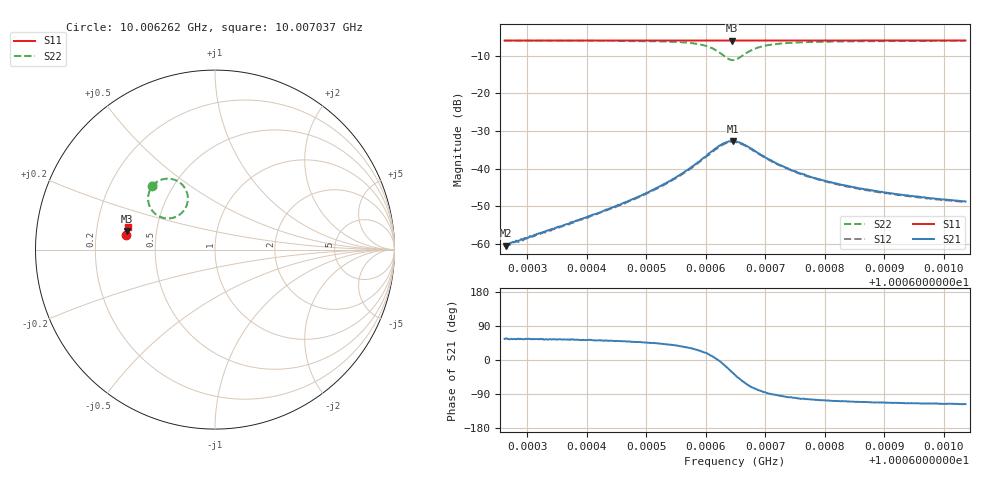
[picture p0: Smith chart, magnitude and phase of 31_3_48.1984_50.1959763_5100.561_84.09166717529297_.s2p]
#  HZ  S  RI  R  50.00
! Rohde & Schwarz Vector Network Analyzer
! Rohde-Schwarz,ZNB20-2Port,1311601062101988,3.16
! Created: UTC 3/20/2024, 11:37:22 AM
! freq[Hz]  re:S11  im:S11  re:S21  im:S21  re:S12  im:S12  re:S22  im:S22
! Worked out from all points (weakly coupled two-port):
!   401 points, 10.006262 GHz to 10.007037 GHz, reference 50 ohm
!   highest |S21| = -32.67 dB at 10.006645 GHz (marker M1); lowest = -60.5 dB at 10.006264 GHz (marker M2)
!   lowest |S11| = -6.0 dB at 10.006643 GHz (marker M3), VSWR 3.00, Z = 16.8 + j4.62 ohm
!   |S11| at or under -10 dB: nowhere
!   |S22| runs from -11.2 to -6.0 dB; largest |S21 - S12| = 0.0016
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1.00062618e10  -0.4959 0.0791  0.000539 0.00079  0.000477 0.000805  -0.3505 0.3562
1.00062637e10  -0.4956 0.0793  0.000519 0.000793  0.000482 0.000808  -0.3503 0.3565
1.00063915e10  -0.4947 0.0877  0.00132 0.00171  0.00118 0.00175  -0.3354 0.3695
1.00064593e10  -0.4937 0.0922  0.00223 0.00261  0.00205 0.00266  -0.3217 0.3789
1.00065213e10  -0.4931 0.0964  0.00417 0.00396  0.00391 0.00403  -0.2974 0.3899
1.00065659e10  -0.4923 0.0993  0.00768 0.00515  0.00721 0.0054  -0.2598 0.3953
1.00066007e10  -0.4912 0.1019  0.0139 0.00466  0.0135 0.005  -0.1996 0.376
1.00066143e10  -0.4907 0.1023  0.018 0.00201  0.0172 0.00286  -0.1695 0.3451
1.00066259e10  -0.4901 0.1027  0.0207 -0.00221  0.0203 -0.00112  -0.1522 0.2989
1.00066375e10  -0.4898 0.1028  0.0212 -0.00866  0.021 -0.00729  -0.1609 0.2392
1.00066433e10  -0.4897 0.103  0.0199 -0.012  0.0201 -0.0105  -0.1786 0.2115
1.00066453e10  -0.4897 0.1029  0.0194 -0.0129  0.0195 -0.0115  -0.1861 0.2035
1.00066492e10  -0.4898 0.1029  0.0179 -0.0147  0.0182 -0.0132  -0.2036 0.1901
1.00066608e10  -0.4901 0.1033  0.0125 -0.0177  0.0131 -0.0165  -0.2607 0.1734
1.00066743e10  -0.4906 0.1041  0.00659 -0.0177  0.00761 -0.0168  -0.3144 0.1867
1.00066976e10  -0.4908 0.1057  0.00132 -0.0146  0.00209 -0.0141  -0.3582 0.2292
1.00067208e10  -0.491 0.1075  -0.000618 -0.0115  -0.00016 -0.0114  -0.3705 0.2627
1.00067441e10  -0.4907 0.109  -0.00139 -0.00939  -0.00107 -0.00941  -0.3727 0.2854
1.00067789e10  -0.4905 0.1114  -0.00187 -0.00746  -0.00153 -0.0074  -0.3704 0.3073
1.0006837e10  -0.4897 0.1152  -0.00194 -0.00561  -0.00166 -0.00554  -0.3638 0.3281
1.00069087e10  -0.4888 0.12  -0.00186 -0.00437  -0.00158 -0.00436  -0.3566 0.3424
1.00070366e10  -0.4872 0.1281  -0.00162 -0.00329  -0.00146 -0.00328  -0.3462 0.358
